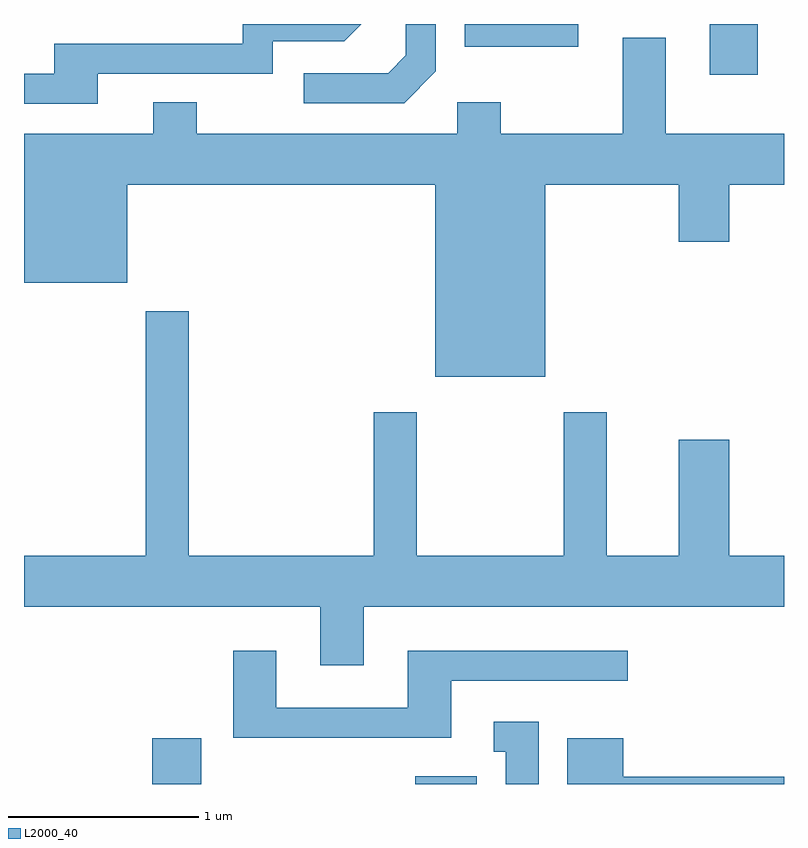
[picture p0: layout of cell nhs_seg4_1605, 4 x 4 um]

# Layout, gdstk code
import gdstk
lib = gdstk.Library(unit=1e-6, precision=1e-09)
def R(c, l, rs):  # rectangles x0, y0, x1, y1
    for r in rs: c.add(gdstk.rectangle(r[:2], r[2:], *l))
def P(c, l, *ps):  # polygons
    for p in ps: c.add(gdstk.Polygon(p, *l))
L2000_40 = (2000, 40)

nhs_seg4_1605 = lib.new_cell('nhs_seg4_1605')
R(nhs_seg4_1605, L2000_40, [(232.286,1335.982,232.544,1336.224), (233.671,1335.982,233.994,1336.024), (235.221,1339.716,235.474,1339.982), (233.931,1339.861,234.529,1339.982)])
P(nhs_seg4_1605, L2000_40, [(233.779,1339.734),(233.779,1339.982),(233.621,1339.982),(233.621,1339.817),(233.529,1339.724),(233.083,1339.724),(233.083,1339.566),(233.612,1339.566)],
  [(231.999,1339.721),(232.919,1339.721),(232.919,1339.891),(233.297,1339.891),(233.387,1339.982),(232.761,1339.982),(232.761,1339.879),(231.771,1339.879),(231.771,1339.719),(231.611,1339.719),(231.611,1339.561),(231.999,1339.561)],
  [(234.354,1339.136),(235.056,1339.136),(235.056,1338.836),(235.324,1338.836),(235.324,1339.136),(235.611,1339.136),(235.611,1339.404),(234.989,1339.404),(234.989,1339.909),(234.761,1339.909),(234.761,1339.404),(234.119,1339.404),(234.119,1339.569),(233.891,1339.569),(233.891,1339.404),(232.519,1339.404),(232.519,1339.569),(232.291,1339.569),(232.291,1339.404),(231.611,1339.404),(231.611,1338.621),(232.154,1338.621),(232.154,1339.136),(233.776,1339.136),(233.776,1338.126),(234.354,1338.126)],
  [(233.399,1336.916),(235.611,1336.916),(235.611,1337.184),(235.324,1337.184),(235.324,1337.794),(235.056,1337.794),(235.056,1337.184),(234.679,1337.184),(234.679,1337.939),(234.451,1337.939),(234.451,1337.184),(233.679,1337.184),(233.679,1337.939),(233.451,1337.939),(233.451,1337.184),(232.479,1337.184),(232.479,1338.469),(232.251,1338.469),(232.251,1337.184),(231.611,1337.184),(231.611,1336.916),(233.171,1336.916),(233.171,1336.606),(233.399,1336.606)],
  [(233.859,1336.526),(234.788,1336.526),(234.788,1336.684),(233.631,1336.684),(233.631,1336.384),(232.939,1336.384),(232.939,1336.684),(232.711,1336.684),(232.711,1336.226),(233.859,1336.226)],
  [(234.319,1336.309),(234.083,1336.309),(234.083,1336.151),(234.146,1336.151),(234.146,1335.982),(234.319,1335.982)],
  [(235.611,1336.019),(234.764,1336.019),(234.764,1336.224),(234.471,1336.224),(234.471,1335.982),(235.611,1335.982)])

lib.write_gds('nhs_seg4_1605.gds')
